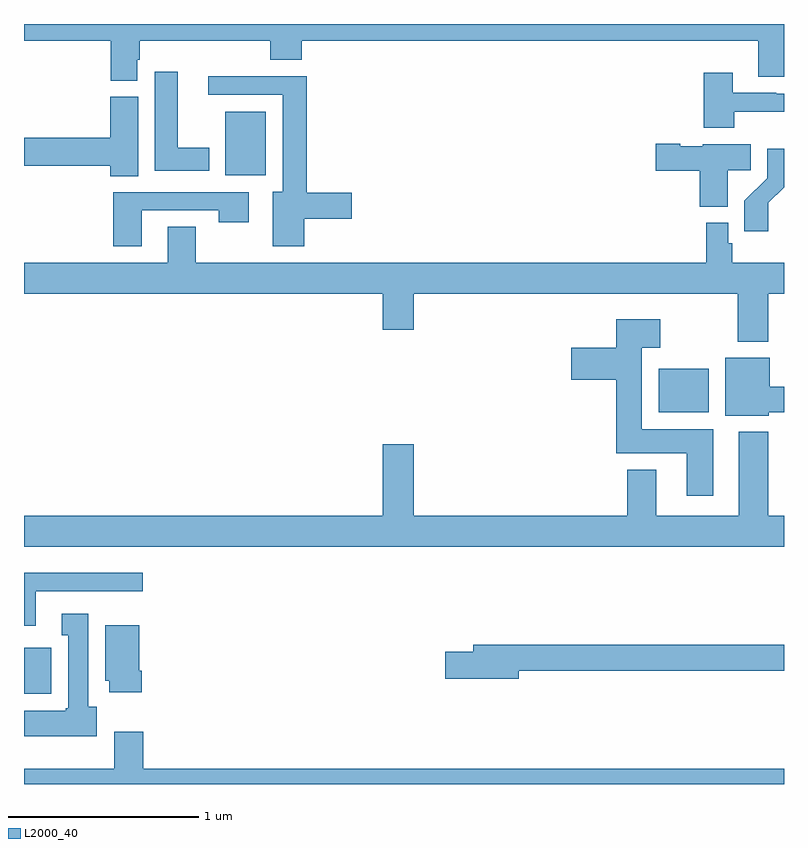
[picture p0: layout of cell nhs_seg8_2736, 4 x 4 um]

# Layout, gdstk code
import gdstk
lib = gdstk.Library(unit=1e-6, precision=1e-09)
def R(c, l, rs):  # rectangles x0, y0, x1, y1
    for r in rs: c.add(gdstk.rectangle(r[:2], r[2:], *l))
def P(c, l, *ps):  # polygons
    for p in ps: c.add(gdstk.Polygon(p, *l))
L2000_40 = (2000, 40)

nhs_seg8_2736 = lib.new_cell('nhs_seg8_2736')
R(nhs_seg8_2736, L2000_40, [(283,1134.374,283.144,1134.616), (286.34,1135.856,286.603,1136.086), (284.06,1137.104,284.272,1137.439)])
P(nhs_seg8_2736, L2000_40, [(283.597,1137.711),(283.61,1137.711),(283.61,1137.812),(284.297,1137.812),(284.297,1137.713),(284.462,1137.713),(284.462,1137.812),(286.865,1137.812),(286.865,1137.622),(287,1137.622),(287,1137.9),(283,1137.9),(283,1137.812),(283.457,1137.812),(283.457,1137.601),(283.597,1137.601)],
  [(283.975,1137.25),(283.81,1137.25),(283.81,1137.649),(283.688,1137.649),(283.688,1137.128),(283.975,1137.128)],
  [(286.737,1137.438),(287,1137.438),(287,1137.534),(286.958,1137.534),(286.958,1137.537),(286.729,1137.537),(286.729,1137.643),(286.577,1137.643),(286.577,1137.353),(286.737,1137.353)],
  [(284.476,1136.876),(284.725,1136.876),(284.725,1137.011),(284.489,1137.011),(284.489,1137.626),(283.971,1137.626),(283.971,1137.528),(284.363,1137.528),(284.363,1137.016),(284.309,1137.016),(284.309,1136.73),(284.476,1136.73)],
  [(283.6,1137.516),(283.454,1137.516),(283.454,1137.302),(283,1137.302),(283,1137.155),(283.454,1137.155),(283.454,1137.1),(283.6,1137.1)],
  [(286.705,1137.13),(286.826,1137.13),(286.826,1137.268),(286.572,1137.268),(286.572,1137.256),(286.455,1137.256),(286.455,1137.269),(286.326,1137.269),(286.326,1137.127),(286.556,1137.127),(286.556,1136.939),(286.705,1136.939)],
  [(286.918,1136.959),(287,1137.041),(287,1137.244),(286.911,1137.244),(286.911,1137.089),(286.792,1136.97),(286.792,1136.808),(286.918,1136.808)],
  [(283.621,1136.919),(284.026,1136.919),(284.026,1136.856),(284.182,1136.856),(284.182,1137.015),(283.469,1137.015),(283.469,1136.73),(283.621,1136.73)],
  [(286.727,1136.745),(286.707,1136.745),(286.707,1136.854),(286.591,1136.854),(286.591,1136.644),(283.905,1136.644),(283.905,1136.834),(283.757,1136.834),(283.757,1136.644),(283,1136.644),(283,1136.48),(284.888,1136.48),(284.888,1136.292),(285.052,1136.292),(285.052,1136.48),(286.756,1136.48),(286.756,1136.228),(286.916,1136.228),(286.916,1136.48),(287,1136.48),(287,1136.644),(286.727,1136.644)],
  [(286.627,1135.768),(286.252,1135.768),(286.252,1136.195),(286.348,1136.195),(286.348,1136.347),(286.118,1136.347),(286.118,1136.197),(285.879,1136.197),(285.879,1136.027),(286.118,1136.027),(286.118,1135.64),(286.487,1135.64),(286.487,1135.416),(286.627,1135.416)],
  [(286.92,1135.856),(287,1135.856),(287,1135.991),(286.924,1135.991),(286.924,1136.143),(286.691,1136.143),(286.691,1135.838),(286.92,1135.838)],
  [(287,1135.312),(286.916,1135.312),(286.916,1135.753),(286.763,1135.753),(286.763,1135.312),(286.327,1135.312),(286.327,1135.555),(286.175,1135.555),(286.175,1135.312),(285.052,1135.312),(285.052,1135.687),(284.888,1135.687),(284.888,1135.312),(283,1135.312),(283,1135.148),(287,1135.148)],
  [(283.063,1134.915),(283.624,1134.915),(283.624,1135.012),(283,1135.012),(283,1134.734),(283.063,1134.734)],
  [(283.384,1134.306),(283.339,1134.306),(283.339,1134.796),(283.199,1134.796),(283.199,1134.683),(283.232,1134.683),(283.232,1134.3),(283.219,1134.3),(283.219,1134.286),(283,1134.286),(283,1134.152),(283.384,1134.152)],
  [(283.619,1134.496),(283.606,1134.496),(283.606,1134.736),(283.427,1134.736),(283.427,1134.444),(283.448,1134.444),(283.448,1134.384),(283.619,1134.384)],
  [(285.604,1134.496),(287,1134.496),(287,1134.632),(285.365,1134.632),(285.365,1134.596),(285.216,1134.596),(285.216,1134.454),(285.604,1134.454)],
  [(287,1133.98),(283.628,1133.98),(283.628,1134.175),(283.475,1134.175),(283.475,1133.98),(283,1133.98),(283,1133.9),(287,1133.9)])

lib.write_gds('nhs_seg8_2736.gds')
